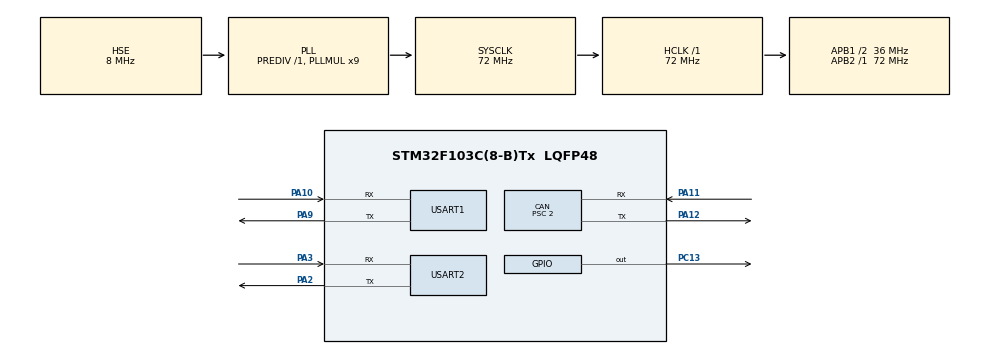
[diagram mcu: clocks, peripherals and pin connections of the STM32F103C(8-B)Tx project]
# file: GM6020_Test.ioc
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CAN.BS1=CAN_BS1_9TQ
CAN.BS2=CAN_BS2_8TQ
CAN.CalculateBaudRate=1000000
CAN.CalculateTimeBit=1000
CAN.CalculateTimeQuantum=55.55555555555556
CAN.Prescaler=2
Dma.Request0=USART1_RX
Dma.Request1=USART1_TX
Dma.Request2=USART2_RX
Dma.Request3=USART2_TX
Dma.USART1_RX.0.Direction=DMA_PERIPH_TO_MEMORY
Dma.USART1_RX.0.Instance=DMA1_Channel5
Dma.USART1_RX.0.MemDataAlignment=DMA_MDATAALIGN_BYTE
Dma.USART1_RX.0.MemInc=DMA_MINC_ENABLE
Dma.USART1_RX.0.Mode=DMA_NORMAL
Dma.USART1_RX.0.PeriphDataAlignment=DMA_PDATAALIGN_BYTE
Dma.USART1_RX.0.PeriphInc=DMA_PINC_DISABLE
Dma.USART1_RX.0.Priority=DMA_PRIORITY_LOW
Dma.USART1_TX.1.Direction=DMA_MEMORY_TO_PERIPH
Dma.USART1_TX.1.Instance=DMA1_Channel4
Dma.USART1_TX.1.MemDataAlignment=DMA_MDATAALIGN_BYTE
Dma.USART1_TX.1.MemInc=DMA_MINC_ENABLE
Dma.USART1_TX.1.Mode=DMA_NORMAL
Dma.USART1_TX.1.PeriphDataAlignment=DMA_PDATAALIGN_BYTE
Dma.USART1_TX.1.PeriphInc=DMA_PINC_DISABLE
Dma.USART1_TX.1.Priority=DMA_PRIORITY_LOW
Dma.USART2_RX.2.Direction=DMA_PERIPH_TO_MEMORY
Dma.USART2_RX.2.Instance=DMA1_Channel6
Dma.USART2_RX.2.MemDataAlignment=DMA_MDATAALIGN_BYTE
Dma.USART2_RX.2.MemInc=DMA_MINC_ENABLE
Dma.USART2_RX.2.Mode=DMA_NORMAL
Dma.USART2_RX.2.PeriphDataAlignment=DMA_PDATAALIGN_BYTE
Dma.USART2_RX.2.PeriphInc=DMA_PINC_DISABLE
Dma.USART2_RX.2.Priority=DMA_PRIORITY_LOW
Dma.USART2_TX.3.Direction=DMA_MEMORY_TO_PERIPH
Dma.USART2_TX.3.Instance=DMA1_Channel7
Dma.USART2_TX.3.MemDataAlignment=DMA_MDATAALIGN_BYTE
Dma.USART2_TX.3.MemInc=DMA_MINC_ENABLE
Dma.USART2_TX.3.Mode=DMA_NORMAL
Dma.USART2_TX.3.PeriphDataAlignment=DMA_PDATAALIGN_BYTE
Dma.USART2_TX.3.PeriphInc=DMA_PINC_DISABLE
Dma.USART2_TX.3.Priority=DMA_PRIORITY_LOW
Mcu.Family=STM32F1
Mcu.Name=STM32F103C(8-B)Tx
Mcu.Package=LQFP48
NVIC.CAN1_RX1_IRQn=true\:0\:0\:false\:false\:true\:true\:true\:true
NVIC.DMA1_Channel4_IRQn=true\:0\:0\:false\:false\:true\:false\:true\:true
NVIC.DMA1_Channel5_IRQn=true\:0\:0\:false\:false\:true\:false\:true\:true
NVIC.DMA1_Channel6_IRQn=true\:0\:0\:false\:false\:true\:false\:true\:true
NVIC.DMA1_Channel7_IRQn=true\:0\:0\:false\:false\:true\:false\:true\:true
NVIC.PriorityGroup=NVIC_PRIORITYGROUP_4
NVIC.TIM2_IRQn=true\:0\:0\:false\:false\:true\:true\:true\:true
NVIC.USART1_IRQn=true\:0\:0\:false\:false\:true\:false\:true\:true
NVIC.USART2_IRQn=true\:0\:0\:false\:false\:true\:true\:true\:true
NVIC.USB_HP_CAN1_TX_IRQn=true\:0\:0\:false\:false\:true\:true\:true\:true
NVIC.USB_LP_CAN1_RX0_IRQn=true\:0\:0\:false\:false\:true\:true\:true\:true
PA10.Mode=Asynchronous
PA10.Signal=USART1_RX
PA11.Mode=CAN_Activate
PA11.Signal=CAN_RX
PA12.Mode=CAN_Activate
PA12.Signal=CAN_TX
PA13.Mode=Serial_Wire
PA13.Signal=SYS_JTMS-SWDIO
PA14.Mode=Serial_Wire
PA14.Signal=SYS_JTCK-SWCLK
PA2.Mode=Asynchronous
PA2.Signal=USART2_TX
PA3.Mode=Asynchronous
PA3.Signal=USART2_RX
PA9.Mode=Asynchronous
PA9.Signal=USART1_TX
PC13-TAMPER-RTC.Signal=GPIO_Output
PD0-OSC_IN.Mode=HSE-External-Oscillator
PD0-OSC_IN.Signal=RCC_OSC_IN
PD1-OSC_OUT.Mode=HSE-External-Oscillator
PD1-OSC_OUT.Signal=RCC_OSC_OUT
ProjectManager.HeapSize=0x200
ProjectManager.StackSize=0x400
ProjectManager.TargetToolchain=MDK-ARM V5.32
RCC.AHBFreq_Value=72000000
RCC.APB1CLKDivider=RCC_HCLK_DIV2
RCC.APB1Freq_Value=36000000
RCC.APB1TimFreq_Value=72000000
RCC.APB2Freq_Value=72000000
RCC.APB2TimFreq_Value=72000000
RCC.HCLKFreq_Value=72000000
RCC.PLLMUL=RCC_PLL_MUL9
RCC.PLLSourceVirtual=RCC_PLLSOURCE_HSE
RCC.SYSCLKFreq_VALUE=72000000
RCC.SYSCLKSource=RCC_SYSCLKSOURCE_PLLCLK
RCC.USBFreq_Value=72000000
TIM2.AutoReloadPreload=TIM_AUTORELOAD_PRELOAD_ENABLE
TIM2.Period=999
TIM2.Prescaler=71
USART1.VirtualMode=VM_ASYNC
USART2.VirtualMode=VM_ASYNC
VP_TIM2_VS_ClockSourceINT.Mode=Internal
board=custom

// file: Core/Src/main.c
/* USER CODE BEGIN Header */
/**
 ******************************************************************************
 * @file           : main.c
 * @brief          : Main program body
 ******************************************************************************
 * @attention
 *
 * Copyright (c) 2025 STMicroelectronics.
 * All rights reserved.
 *
 * This software is licensed under terms that can be found in the LICENSE file
 * in the root directory of this software component.
 * If no LICENSE file comes with this software, it is provided AS-IS.
 *
 ******************************************************************************
 */
/* USER CODE END Header */
#include "main.h"
#include "can.h"
#include "dma.h"
#include "tim.h"
#include "usart.h"
#include "gpio.h"

/* USER CODE BEGIN Includes */

#include "CAN_Func.h"
#include "PID.h"
#include <stdio.h>
#include <stdarg.h>
#include <string.h>

/* USER CODE END Includes */

void SystemClock_Config(void);

/* USER CODE BEGIN 0 */

float Angle;
float Temp;
float Speed;
float I;
char Receive_Buffer[10];
uint16_t Receive_Angle = 0;

extern float Target;

void Uart_printf(UART_HandleTypeDef *huart, char *format, ...) // 串口打印函数
{
    static char buf[1024]; // 定义临时数组，根据实际发送大小微调
    va_list args;
    va_start(args, format);
    uint32_t len = vsnprintf((char *)buf, sizeof(buf), (char *)format, args);
    va_end(args);
    HAL_UART_Transmit(huart, (uint8_t *)buf, len, 100);
}

void HAL_CAN_RxFifo0MsgPendingCallback(CAN_HandleTypeDef *hcan)
{
    CAN_RxHeaderTypeDef CAN_Rx; // 接收句柄
    uint8_t Data[8] = {0};      // 数据
    HAL_CAN_GetRxMessage(hcan, CAN_FIFO_0, &CAN_Rx, Data);

    Angle = ((Data[0] << 8) | Data[1]) / 8192.0 * 360.0;
    Speed = ((Data[2] << 8) | Data[3]);
    I = ((Data[4] << 8) | Data[5]) / 65535.0 * 3.0;
    Temp = Data[6];

    Uart_printf(&huart1, "%.1f\r\n", Angle);
}

void HAL_UARTEx_RxEventCallback(UART_HandleTypeDef *huart, uint16_t Size) // 串口接收回调函数
{
    if (huart->Instance == USART2)
    {
        sscanf(Receive_Buffer, "%d", &Receive_Angle); // 解析接收到的角度值
        if (Receive_Angle > 0 && Receive_Angle < 360) // 检查角度范围
        {
            Target = (float)Receive_Angle;
        }
        memset(Receive_Buffer, 0, sizeof(Receive_Buffer)); // 清空接收缓冲区
        HAL_UARTEx_ReceiveToIdle_DMA(&huart2, (uint8_t *)Receive_Buffer, sizeof(Receive_Buffer));
        __HAL_DMA_DISABLE_IT(huart2.hdmarx, DMA_IT_HT); // 禁用DMA半传输中断，避免进入两次回调
    }
}

/* USER CODE END 0 */

int main(void)
{

  /* MCU Configuration--------------------------------------------------------*/

  /* Reset of all peripherals, Initializes the Flash interface and the Systick. */
  HAL_Init();

  /* Configure the system clock */
  SystemClock_Config();

  /* Initialize all configured peripherals */
  MX_GPIO_Init();
  MX_DMA_Init();
  MX_CAN_Init();
  MX_USART1_UART_Init();
  MX_TIM2_Init();
  MX_USART2_UART_Init();
  /* USER CODE BEGIN 2 */

    HAL_TIM_Base_Start_IT(&htim2);
    Can_Init(&hcan);
    Can_Filter_Config(&hcan,
                      CAN_FILTER(0) | CAN_FIFO_0 | CANSTDID | CANRTR_DATA, // Filter 0, FIFO 0, Standard ID, Data Frame
                      0x208,                                               // ID to filter
                      0x7FF);                                              // Mask ID (standard frame mask)

    HAL_UARTEx_ReceiveToIdle_DMA(&huart2, (uint8_t *)Receive_Buffer, sizeof(Receive_Buffer));
    __HAL_DMA_DISABLE_IT(huart2.hdmarx, DMA_IT_HT); // 禁用DMA半传输中断，避免进入两次回调
  /* USER CODE END 2 */

  /* Infinite loop */
    while (1)
    {

    }
}

void SystemClock_Config(void)
{
  RCC_OscInitTypeDef RCC_OscInitStruct = {0};
  RCC_ClkInitTypeDef RCC_ClkInitStruct = {0};

  /** Initializes the RCC Oscillators according to the specified parameters
  * in the RCC_OscInitTypeDef structure.
  */
  RCC_OscInitStruct.OscillatorType = RCC_OSCILLATORTYPE_HSE;
  RCC_OscInitStruct.HSEState = RCC_HSE_ON;
  RCC_OscInitStruct.HSEPredivValue = RCC_HSE_PREDIV_DIV1;
  RCC_OscInitStruct.HSIState = RCC_HSI_ON;
  RCC_OscInitStruct.PLL.PLLState = RCC_PLL_ON;
  RCC_OscInitStruct.PLL.PLLSource = RCC_PLLSOURCE_HSE;
  RCC_OscInitStruct.PLL.PLLMUL = RCC_PLL_MUL9;
  if (HAL_RCC_OscConfig(&RCC_OscInitStruct) != HAL_OK)
  {
    Error_Handler();
  }

  /** Initializes the CPU, AHB and APB buses clocks
  */
  RCC_ClkInitStruct.ClockType = RCC_CLOCKTYPE_HCLK|RCC_CLOCKTYPE_SYSCLK
                              |RCC_CLOCKTYPE_PCLK1|RCC_CLOCKTYPE_PCLK2;
  RCC_ClkInitStruct.SYSCLKSource = RCC_SYSCLKSOURCE_PLLCLK;
  RCC_ClkInitStruct.AHBCLKDivider = RCC_SYSCLK_DIV1;
  RCC_ClkInitStruct.APB1CLKDivider = RCC_HCLK_DIV2;
  RCC_ClkInitStruct.APB2CLKDivider = RCC_HCLK_DIV1;

  if (HAL_RCC_ClockConfig(&RCC_ClkInitStruct, FLASH_LATENCY_2) != HAL_OK)
  {
    Error_Handler();
  }
}

void Error_Handler(void)
{
    __disable_irq();
    while (1)
    {
    }
}
